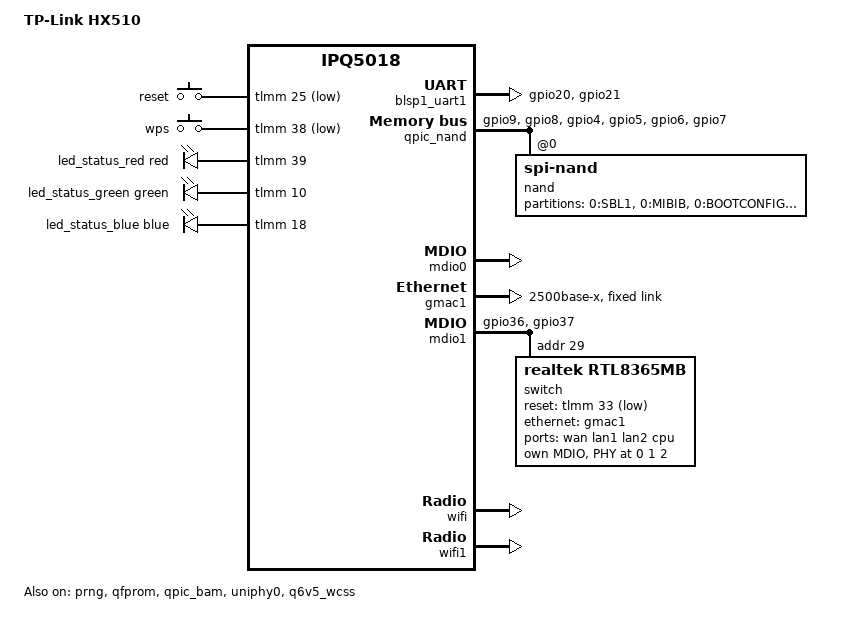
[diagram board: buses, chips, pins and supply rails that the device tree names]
// SPDX-License-Identifier: GPL-2.0-or-later OR MIT

/dts-v1/;

#include "ipq5018.dtsi"
#include "ipq5018-ess.dtsi"
#include "ipq5018-qcn6122.dtsi"

#include <dt-bindings/gpio/gpio.h>
#include <dt-bindings/input/input.h>
#include <dt-bindings/leds/common.h>

/ {
	model = "TP-Link HX510";
	compatible = "tplink,hx510", "qcom,ipq5018";

	aliases {
		serial0 = &blsp1_uart1;
		led-boot = &led_status_green;
		led-failsafe = &led_status_red;
		led-running = &led_status_green;
		led-upgrade = &led_status_blue;
	};

	chosen {
		stdout-path = "serial0:115200n8";
		bootargs-append = " root=/dev/ubiblock0_1 coherent_pool=2M";
	};

	keys {
		compatible = "gpio-keys";
		pinctrl-0 = <&button_pins>;
		pinctrl-names = "default";

		button-reset {
			label = "reset";
			gpios = <&tlmm 25 GPIO_ACTIVE_LOW>;
			linux,code = <KEY_RESTART>;
		};

		button-wps {
			label = "wps";
			gpios = <&tlmm 38 GPIO_ACTIVE_LOW>;
			linux,code = <KEY_WPS_BUTTON>;
		};
	};

	/*
	 * A single RGB status LED. The GPIOs are taken from the LED table of
	 * the stock tp_gpio driver (RED/GREEN/BLUE entries, all other
	 * functions unassigned); colours and polarity checked on hardware.
	 */
	leds {
		compatible = "gpio-leds";
		pinctrl-0 = <&led_pins>;
		pinctrl-names = "default";

		led_status_red: led-0 {
			color = <LED_COLOR_ID_RED>;
			function = LED_FUNCTION_STATUS;
			gpios = <&tlmm 39 GPIO_ACTIVE_HIGH>;
		};

		led_status_green: led-1 {
			color = <LED_COLOR_ID_GREEN>;
			function = LED_FUNCTION_STATUS;
			gpios = <&tlmm 10 GPIO_ACTIVE_HIGH>;
		};

		led_status_blue: led-2 {
			color = <LED_COLOR_ID_BLUE>;
			function = LED_FUNCTION_STATUS;
			gpios = <&tlmm 18 GPIO_ACTIVE_HIGH>;
		};
	};
};

&sleep_clk {
	clock-frequency = <32000>;
};

&xo_board_clk {
	clock-div = <4>;
	clock-mult = <1>;
};

&blsp1_uart1 {
	pinctrl-0 = <&serial_0_pins>;
	pinctrl-names = "default";
	status = "okay";
};

&prng {
	status = "okay";
};

&qfprom {
	status = "okay";
};

&qpic_bam {
	status = "okay";
};

&qpic_nand {
	pinctrl-0 = <&qpic_pins>;
	pinctrl-names = "default";
	status = "okay";

	nand@0 {
		compatible = "spi-nand";
		reg = <0>;

		nand-ecc-engine = <&qpic_nand>;
		nand-ecc-strength = <4>;
		nand-ecc-step-size = <512>;
		nand-bus-width = <8>;

		/*
		 * Layout taken from the stock U-Boot "smeminfo" output.
		 *
		 * The stock U-Boot boots "rootfs" or "rootfs_1" depending on the
		 * tp_boot_idx environment variable (0/unset or 1) and falls back to
		 * the other slot when the kernel volume cannot be loaded. OpenWrt
		 * always lives in rootfs_1; the TP-Link firmware in rootfs is kept
		 * read-only as a permanent fallback.
		 */
		partitions {
			compatible = "fixed-partitions";
			#address-cells = <1>;
			#size-cells = <1>;

			partition@0 {
				label = "0:SBL1";
				reg = <0x0 0x80000>;
				read-only;
			};

			partition@80000 {
				label = "0:MIBIB";
				reg = <0x80000 0x80000>;
				read-only;
			};

			partition@100000 {
				label = "0:BOOTCONFIG";
				reg = <0x100000 0x40000>;
				read-only;
			};

			partition@140000 {
				label = "0:BOOTCONFIG1";
				reg = <0x140000 0x40000>;
				read-only;
			};

			partition@180000 {
				label = "0:QSEE";
				reg = <0x180000 0x100000>;
				read-only;
			};

			partition@280000 {
				label = "0:QSEE_1";
				reg = <0x280000 0x100000>;
				read-only;
			};

			partition@380000 {
				label = "0:DEVCFG";
				reg = <0x380000 0x40000>;
				read-only;
			};

			partition@3c0000 {
				label = "0:DEVCFG_1";
				reg = <0x3c0000 0x40000>;
				read-only;
			};

			partition@400000 {
				label = "0:CDT";
				reg = <0x400000 0x40000>;
				read-only;
			};

			partition@440000 {
				label = "0:CDT_1";
				reg = <0x440000 0x40000>;
				read-only;
			};

			partition@480000 {
				label = "0:APPSBLENV";
				reg = <0x480000 0x80000>;
			};

			partition@500000 {
				label = "0:APPSBL";
				reg = <0x500000 0x140000>;
				read-only;
			};

			partition@640000 {
				label = "0:APPSBL_1";
				reg = <0x640000 0x140000>;
				read-only;
			};

			partition@780000 {
				label = "0:ART";
				reg = <0x780000 0x100000>;
				read-only;
			};

			partition@880000 {
				label = "0:TRAINING";
				reg = <0x880000 0x80000>;
				read-only;
			};

			partition@900000 {
				label = "misc_data_ro";
				reg = <0x900000 0x600000>;
				read-only;
			};

			partition@f00000 {
				label = "misc_data_rw";
				reg = <0xf00000 0x600000>;
				read-only;
			};

			partition@1500000 {
				label = "misc_data_rwbak";
				reg = <0x1500000 0x600000>;
				read-only;
			};

			partition@1b00000 {
				label = "misc_data_isp";
				reg = <0x1b00000 0x600000>;
				read-only;
			};

			partition@2100000 {
				label = "rootfs";
				reg = <0x2100000 0x2460000>;
				read-only;
			};

			partition@4560000 {
				label = "rootfs_1";
				reg = <0x4560000 0x2460000>;
			};
		};
	};
};

/*
 * Ethernet: same design as the Archer AX55 v1. gmac1 -> uniphy0 -> 2.5G
 * HSGMII -> RTL8367S at MDIO1 address 29, reset GPIO33 (stock DTS
 * "phy-reset-gpio"). Only three jacks are fitted: switch port 0 is WAN and
 * ports 1-2 are LAN1-2 (stock maps them to eth1.2/eth1.3/eth1.4 and only
 * configures PHYs 0-2). Ports 3-4 are not wired.
 */
&mdio0 {
	status = "okay";
};

&uniphy0 {
	status = "okay";

	assigned-clocks = <&uniphy0 UNIPHY_CLK_REF>;
	assigned-clock-rates = <UNIPHY_REFCLK_50MHZ>;
};

&gmac1 {
	status = "okay";

	phy-mode = "2500base-x";

	fixed-link {
		speed = <2500>;
		full-duplex;
	};
};

&mdio1 {
	status = "okay";

	pinctrl-0 = <&mdio1_pins>;
	pinctrl-names = "default";

	switch@1d {
		compatible = "realtek,rtl8365mb";
		reg = <0x1d>;
		reset-gpios = <&tlmm 33 GPIO_ACTIVE_LOW>;

		mdio {
			compatible = "realtek,smi-mdio";
			#address-cells = <1>;
			#size-cells = <0>;

			switchphy0: ethernet-phy@0 {
				reg = <0>;
			};

			switchphy1: ethernet-phy@1 {
				reg = <1>;
			};

			switchphy2: ethernet-phy@2 {
				reg = <2>;
			};
		};

		ports {
			#address-cells = <1>;
			#size-cells = <0>;

			port@0 {
				reg = <0>;
				label = "wan";
				phy-handle = <&switchphy0>;
			};

			port@1 {
				reg = <1>;
				label = "lan1";
				phy-handle = <&switchphy1>;
			};

			port@2 {
				reg = <2>;
				label = "lan2";
				phy-handle = <&switchphy2>;
			};

			port@6 {
				reg = <6>;
				label = "cpu";
				ethernet = <&gmac1>;
				phy-mode = "2500base-x";

				fixed-link {
					speed = <2500>;
					full-duplex;
				};
			};
		};
	};
};

&q6v5_wcss {
	status = "okay";
};

&wifi {
	status = "okay";

	qcom,rproc = <&q6_wcss_pd1>;
	qcom,ath11k-fw-memory-mode = <1>;
	qcom,calibration-variant = "TP-Link-HX510";
	qcom,bdf-addr = <0x4c400000>;
};

&wifi1 {
	status = "okay";

	qcom,rproc = <&q6_wcss_pd3>;
	qcom,userpd-subsys-name = "q6v5_wcss_userpd3";
	qcom,ath11k-fw-memory-mode = <1>;
	qcom,calibration-variant = "TP-Link-HX510";
	qcom,bdf-addr = <0x4d100000>;
	qcom,m3-dump-addr = <0x4df00000>;
};

&tlmm {
	button_pins: button-state {
		pins = "gpio25", "gpio38";
		function = "gpio";
		drive-strength = <8>;
		bias-pull-up;
	};

	led_pins: led-state {
		pins = "gpio10", "gpio18", "gpio39";
		function = "gpio";
		drive-strength = <8>;
		bias-disable;
	};

	mdio1_pins: mdio1-state {
		mdc-pins {
			pins = "gpio36";
			function = "mdc";
			drive-strength = <8>;
			bias-pull-up;
		};

		mdio-pins {
			pins = "gpio37";
			function = "mdio";
			drive-strength = <8>;
			bias-pull-up;
		};
	};

	qpic_pins: qpic-state {
		clock-pins {
			pins = "gpio9";
			function = "qspi_clk";
			drive-strength = <8>;
			bias-disable;
		};

		cs-pins {
			pins = "gpio8";
			function = "qspi_cs";
			drive-strength = <8>;
			bias-disable;
		};

		data-pins {
			pins = "gpio4", "gpio5", "gpio6", "gpio7";
			function = "qspi_data";
			drive-strength = <8>;
			bias-disable;
		};
	};

	serial_0_pins: uart0-state {
		pins = "gpio20", "gpio21";
		function = "blsp0_uart0";
		bias-disable;
	};
};
